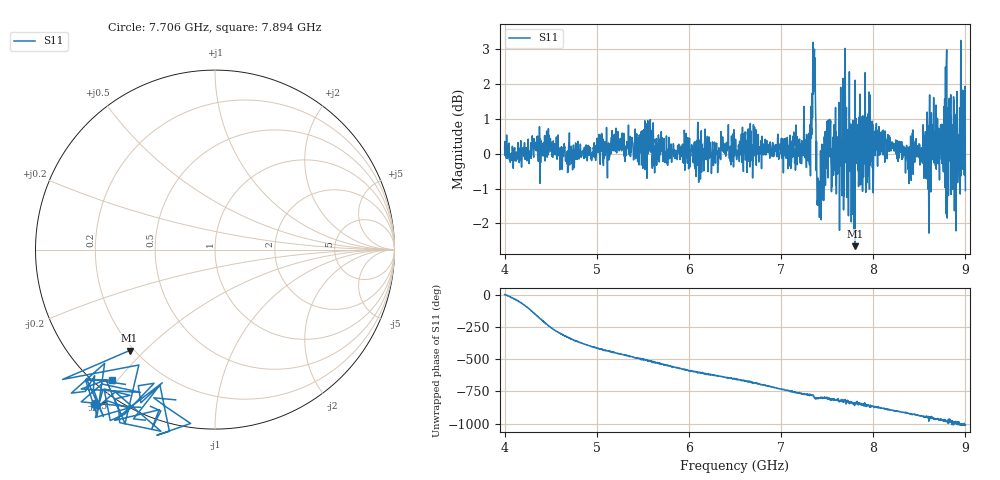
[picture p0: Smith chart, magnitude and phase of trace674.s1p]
! Created with skrf 1.8.0 (http://scikit-rf.org).
# Hz S RI R 50.0
!freq ReS11 ImS11
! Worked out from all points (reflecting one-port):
!   1601 points, 4 GHz to 9 GHz, reference 50 ohm
!   lowest |S11| = -2.7 dB at 7.8 GHz (marker M1), VSWR 6.59, Z = 9.17 - j22.5 ohm
!   phase of S11 starts at 1 deg and turns -1011 deg over the sweep
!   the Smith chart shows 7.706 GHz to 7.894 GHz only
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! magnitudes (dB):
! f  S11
! 4 GHz  0.1
! 4.472 GHz  0.0
! 4.625 GHz  -0.5
! 5.25 GHz  0.3
! 5.875 GHz  -0.1
! 6.5 GHz  0.3
! 7.125 GHz  0.4
! 7.294 GHz  -0.2
! 7.316 GHz  0.3
! 7.347 GHz  3.2
! 7.362 GHz  3.0
! 7.4 GHz  -0.7
! 7.412 GHz  -1.3
! 7.512 GHz  1.0
! 7.619 GHz  0.4
! 7.716 GHz  -1.0
! 7.75 GHz  0.5
! 7.775 GHz  0.4
! 7.8 GHz  -2.7
! 8.097 GHz  0.1
! 8.375 GHz  0.0
! 8.562 GHz  0.1
! 8.581 GHz  -0.1
! 8.656 GHz  1.6
! 8.772 GHz  0.2
! 8.919 GHz  -0.4
! 8.972 GHz  0.6
! 9 GHz  -1.1
